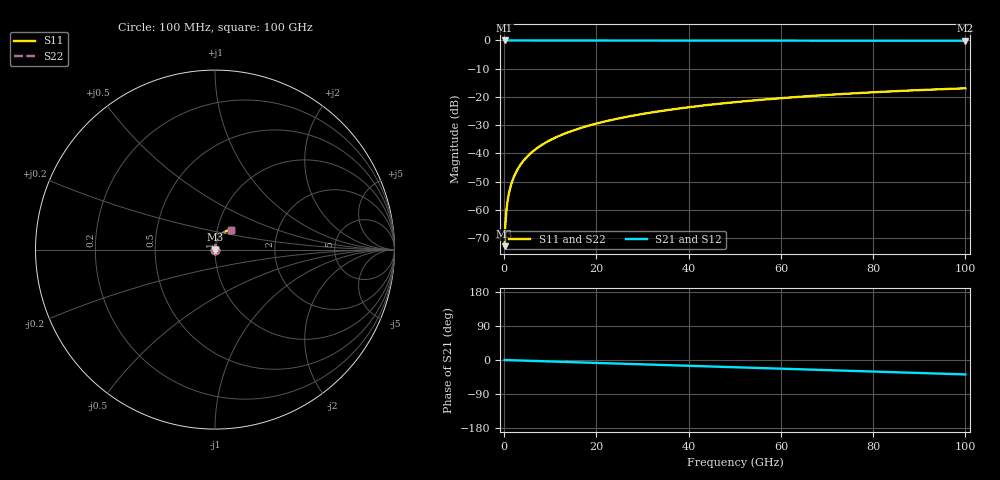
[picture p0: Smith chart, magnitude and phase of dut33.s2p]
! Touchstone file exported from HFSS 2026.1.0
!  File:  C:/ffzhzh/LocalFiles/Ansys_Project_Files/temp_train_TSV_33_1783504625_9504.aedt
!  Generated:  05:58:14 PM Jul  8, 2026
!  Design:  TSV
!  Project:  temp_train_TSV_33_1783504625_9504
! Variables:
!  h_bsmrdl = 2um
!  h_ox = 20um
!  h_rdl = 5um
!  h_sub = 68.68um
!  h_tmrdl = 5um
!  h_tsv = 68.68um
!  h_via = 3um
!  l_bsmrdl = 300um
!  l_sub = 421.72um
!  l_tmrdl = 200um
!  m_sub = 200um
!  pitch = 58.57um
!  r_tsv = 10.86um
!  s_tmrdl = 10um
!  w_bsmrdl = 18um
!  w_sub = 500um
!  w_tmrdl = 12um
!  x_tsv_center1 = 206um
!  x_tsv_center2 = 524um
!  x_tsv_center3 = 736um
!  x_tsv_center4 = 1054um
!  x_tsv_center5 = 1266um
!  x_tsv_center6 = 1584um
# GHz S MA R 50.000000
! Terminal data exported
! Port[1] = TSV1_1_T1
! Port[2] = TSV1_1_T2
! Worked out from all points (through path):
!   1000 points, 100 MHz to 100 GHz, reference 50 ohm
!   highest |S21| = 0.00 dB at 100 MHz (marker M1); lowest = -0.1 dB at 100 GHz (marker M2)
!   group delay of S21, straight-line fit = 1.06 ps
!   lowest |S11| = -72.9 dB at 100 MHz (marker M3), VSWR 1.00, Z = 50 + j0.0204 ohm
!   |S11| at or under -10 dB: start of sweep to end of sweep
!   |S22| runs from -72.9 to -17.0 dB; largest |S21 - S12| = 0
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0.1  0.0002263 64.4  0.9999 -0.0  0.9999 -0.0  0.0002263 64.4
! Gamma 0 0 0 0
! Port Impedance 50 0 50 0
0.3  0.000614 78.3  0.9999 -0.1  0.9999 -0.1  0.000614 78.3
0.7  0.001354 81.6  0.9998 -0.3  0.9998 -0.3  0.001354 81.6
0.8  0.001533 82.0  0.9998 -0.3  0.9998 -0.3  0.001533 82.0
1  0.001886 82.6  0.9998 -0.4  0.9998 -0.4  0.001886 82.6
1.3  0.002411 83.3  0.9997 -0.5  0.9997 -0.5  0.002411 83.3
1.7  0.003107 83.8  0.9997 -0.7  0.9997 -0.7  0.003107 83.9
2.3  0.004146 84.3  0.9996 -0.9  0.9996 -0.9  0.004146 84.3
3  0.005348 84.6  0.9996 -1.2  0.9996 -1.2  0.005348 84.6
3.8  0.006713 84.7  0.9995 -1.5  0.9995 -1.5  0.006713 84.7
4.8  0.008409 84.7  0.9995 -1.9  0.9995 -1.9  0.008409 84.7
6  0.01044 84.6  0.9994 -2.3  0.9994 -2.3  0.01044 84.6
8.8  0.01514 84.0  0.9992 -3.4  0.9992 -3.4  0.01514 84.0
12.4  0.02115 83.0  0.999 -4.8  0.999 -4.8  0.02115 83.0
16.8  0.02843 81.6  0.9986 -6.5  0.9986 -6.5  0.02843 81.6
24.2  0.04053 79.1  0.998 -9.3  0.998 -9.3  0.04053 79.1
33.4  0.05524 75.8  0.9971 -12.8  0.9971 -12.8  0.05524 75.8
41.2  0.06737 73.0  0.9962 -15.8  0.9962 -15.8  0.06737 73.0
50.1  0.08072 69.7  0.9951 -19.2  0.9951 -19.2  0.08072 69.7
66.7  0.104 63.5  0.9927 -25.5  0.9927 -25.5  0.104 63.6
83.4  0.1247 57.3  0.99 -31.8  0.99 -31.8  0.1247 57.4
100  0.1419 51.1  0.9874 -38.1  0.9874 -38.1  0.1419 51.2
